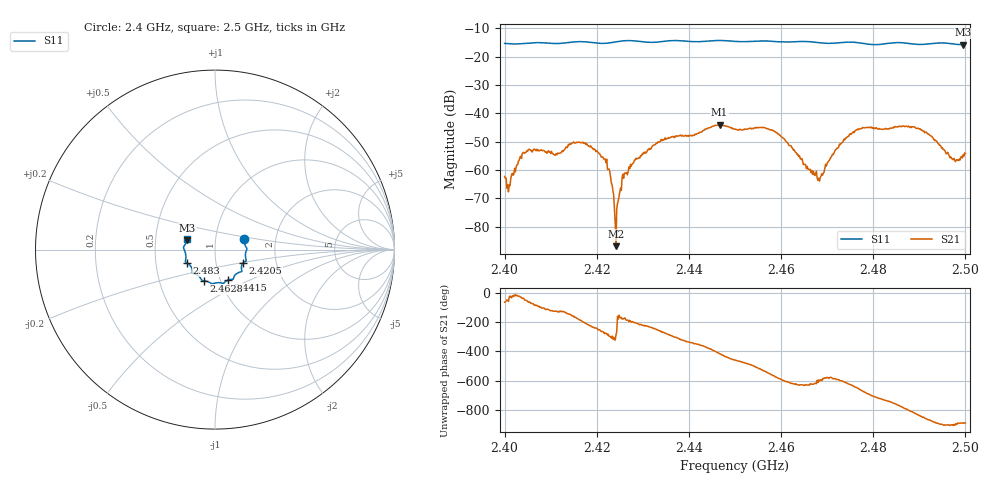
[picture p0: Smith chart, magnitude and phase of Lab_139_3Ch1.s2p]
# Hz S RI R 50
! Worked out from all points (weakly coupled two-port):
!   601 points, 2.4 GHz to 2.5 GHz, reference 50 ohm
!   highest |S21| = -43.94 dB at 2.4467 GHz (marker M1); lowest = -86.8 dB at 2.4242 GHz (marker M2)
!   lowest |S11| = -15.7 dB at 2.4995 GHz (marker M3), VSWR 1.39, Z = 36.4 + j3.85 ohm
!   |S11| at or under -10 dB: start of sweep to end of sweep
!   S12 and S22 are empty: the file has one direction only
!   S11 on the Smith chart (normalised r, x): 2.4 GHz: 1.38, +0.16; 2.4205 GHz: 1.35, -0.21; 2.4415 GHz: 1.09, -0.38; 2.4628 GHz: 0.83, -0.30; 2.483 GHz: 0.73, -0.11; 2.5 GHz: 0.73, +0.09
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2.4e9  0.163 0.0564  0.000368 -0.00068  0 0  0 0
2.401e9  0.1634 0.0468  0.000493 -0.000244  0 0  0 0
2.405e9  0.1736 0.0131  0.00111 -0.00183  0 0  0 0
2.416667e9  0.1741 -0.0627  -0.00301 0.00046  0 0  0 0
2.4205e9  0.1553 -0.0762  -0.000639 0.00187  0 0  0 0
2.422333e9  0.148 -0.0919  0.00031 0.000983  0 0  0 0
2.424167e9  0.1476 -0.1089  1.43e-05 4.33e-05  0 0  0 0
2.426e9  0.1501 -0.1195  -0.00087 -0.000165  0 0  0 0
2.433333e9  0.1078 -0.1473  -0.000879 0.00306  0 0  0 0
2.4415e9  0.0733 -0.1692  0.00413 0.000931  0 0  0 0
2.446667e9  0.0461 -0.1887  0.00358 -0.00525  0 0  0 0
2.45e9  0.0297 -0.1849  -0.00094 -0.00522  0 0  0 0
2.457667e9  -0.0227 -0.1872  -0.00496 0.00134  0 0  0 0
2.462833e9  -0.0621 -0.1736  -0.000244 0.00228  0 0  0 0
2.466667e9  -0.0765 -0.1666  -9.17e-05 0.000983  0 0  0 0
2.4685e9  -0.0833 -0.1557  -0.000405 0.000624  0 0  0 0
2.476167e9  -0.1261 -0.128  0.00135 0.0048  0 0  0 0
2.483e9  -0.1544 -0.0756  0.00497 -0.00184  0 0  0 0
2.483333e9  -0.1563 -0.0744  0.00491 -0.00207  0 0  0 0
2.49e9  -0.1627 -0.0297  -0.00267 -0.00461  0 0  0 0
2.4995e9  -0.155 0.0514  -0.00184 -0.000228  0 0  0 0
2.5e9  -0.1533 0.0579  -0.00196 -0.000259  0 0  0 0
